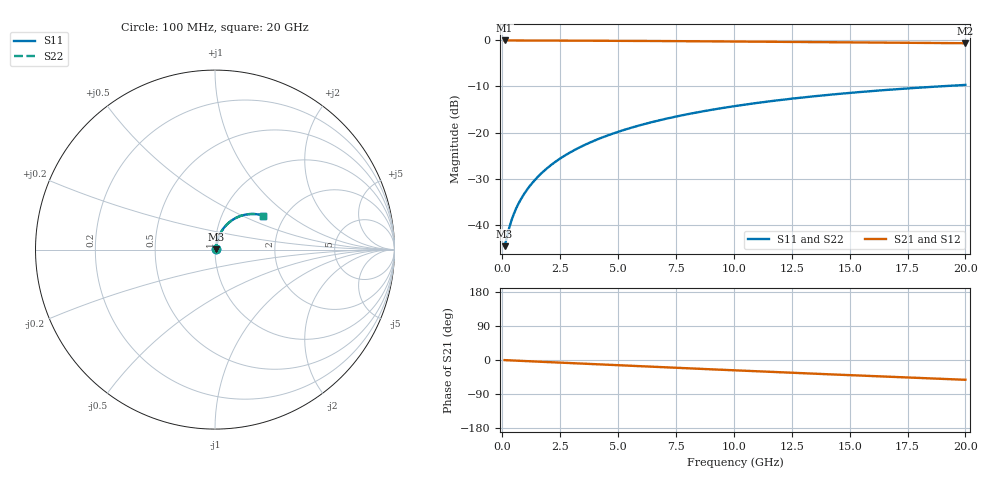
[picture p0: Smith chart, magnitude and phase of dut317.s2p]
! Touchstone file exported from HFSS 2026.1.0
!  File:  C:/ffzhzh/LocalFiles/Ansys_Project_Files/temp_train_BSMRDL_317_1783010781_55676.aedt
!  Generated:  12:47:37 AM Jul  3, 2026
!  Design:  BSMRDL
!  Project:  temp_train_BSMRDL_317_1783010781_55676
! Variables:
!  h_bsmrdl = 2.65um
!  h_ox = 20um
!  h_rdl = 5um
!  h_sub = 80um
!  h_tmrdl = 5um
!  h_tsv = 80um
!  h_via = 3um
!  l_bsmrdl = 858.82um
!  l_sub = 1258.82um
!  l_tmrdl = 200um
!  m_sub = 200um
!  pitch = 36.11um
!  r_tsv = 6um
!  s_tmrdl = 10um
!  w_bsmrdl = 22.37um
!  w_sub = 500um
!  w_tmrdl = 12um
!  x_tsv_center1 = 206um
!  x_tsv_center2 = 1087.19um
!  x_tsv_center3 = 1299.19um
!  x_tsv_center4 = 2180.38um
!  x_tsv_center5 = 2392.38um
!  x_tsv_center6 = 3273.57um
# GHz S MA R 50.000000
! Terminal data exported
! Port[1] = BSM_RDL1_1_T1
! Port[2] = BSM_RDL1_1_T2
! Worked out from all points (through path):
!   200 points, 100 MHz to 20 GHz, reference 50 ohm
!   highest |S21| = -0.05 dB at 100 MHz (marker M1); lowest = -0.6 dB at 20 GHz (marker M2)
!   group delay of S21, straight-line fit = 7.26 ps
!   lowest |S11| = -44.5 dB at 100 MHz (marker M3), VSWR 1.01, Z = 50.5 + j0.254 ohm
!   |S11| at or under -10 dB: start of sweep to 18.82 GHz
!   |S22| runs from -44.5 to -9.7 dB; largest |S21 - S12| = 3.2e-15
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0.1  0.005925 25.1  0.9946 -0.3  0.9946 -0.3  0.005925 25.1
! Gamma 0 0 0 0
! Port Impedance 50 0 50 0
0.3  0.009376 50.1  0.9941 -0.9  0.9941 -0.9  0.009376 50.1
0.4  0.01132 55.6  0.9937 -1.2  0.9937 -1.2  0.01133 55.6
0.5  0.01326 59.3  0.9935 -1.5  0.9935 -1.5  0.01326 59.3
0.6  0.01518 62.1  0.9932 -1.7  0.9932 -1.7  0.01518 62.1
0.8  0.01901 66.0  0.9928 -2.3  0.9928 -2.3  0.01901 66.0
1  0.02286 68.7  0.9925 -2.8  0.9925 -2.8  0.02286 68.7
1.2  0.02674 70.6  0.9923 -3.4  0.9923 -3.4  0.02674 70.6
1.4  0.03066 71.9  0.9921 -3.9  0.9921 -3.9  0.03066 71.9
1.7  0.0366 73.2  0.9917 -4.8  0.9917 -4.8  0.0366 73.2
2.2  0.04658 74.2  0.9911 -6.1  0.9911 -6.1  0.04658 74.2
2.8  0.05861 74.3  0.9902 -7.8  0.9902 -7.8  0.05861 74.3
3.5  0.07261 73.7  0.989 -9.7  0.989 -9.7  0.07261 73.7
4.2  0.0865 72.6  0.9876 -11.6  0.9876 -11.6  0.0865 72.6
5  0.1022 71.1  0.9857 -13.8  0.9857 -13.8  0.1022 71.1
5.9  0.1195 69.2  0.9832 -16.2  0.9832 -16.2  0.1195 69.2
6.8  0.1365 67.1  0.9805 -18.7  0.9805 -18.7  0.1365 67.1
8.3  0.1638 63.5  0.9754 -22.7  0.9754 -22.7  0.1638 63.5
10.1  0.195 59.0  0.9687 -27.4  0.9687 -27.4  0.195 59.0
13.4  0.2467 50.9  0.9551 -35.9  0.9551 -35.9  0.2467 50.9
16.7  0.2914 42.9  0.9413 -44.2  0.9413 -44.2  0.2914 42.9
20  0.3287 35.2  0.9283 -52.2  0.9283 -52.2  0.3287 35.1
